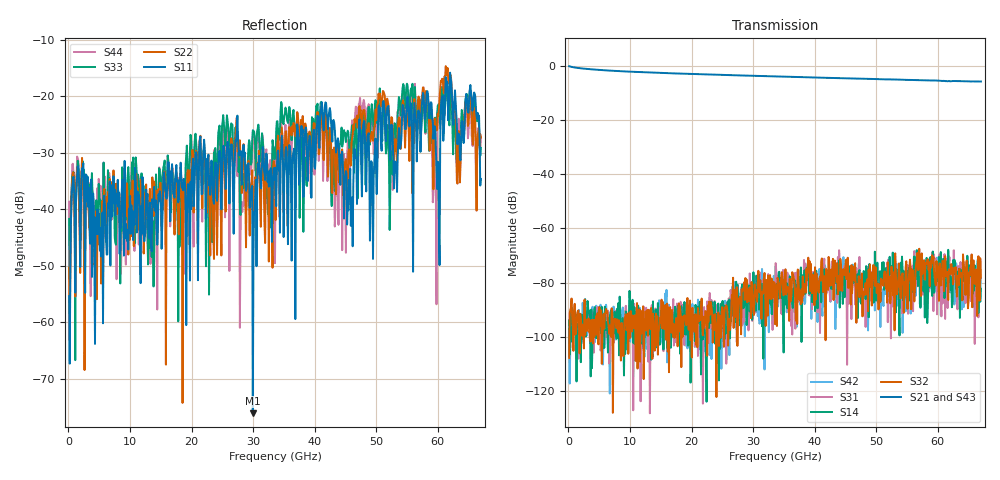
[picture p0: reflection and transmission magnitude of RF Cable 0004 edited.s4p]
!Keysight Technologies,N5227B,US57180239,A.12.70.07
!Date: Monday, December 11, 2017 05:03:27
!Correction: S11(Full 4 Port(1,2,3,4))
!S12(Full 4 Port(1,2,3,4))
!S13(Full 4 Port(1,2,3,4))
!S14(Full 4 Port(1,2,3,4))
!S21(Full 4 Port(1,2,3,4))
!S22(Full 4 Port(1,2,3,4))
!S23(Full 4 Port(1,2,3,4))
!S24(Full 4 Port(1,2,3,4))
!S31(Full 4 Port(1,2,3,4))
!S32(Full 4 Port(1,2,3,4))
!S33(Full 4 Port(1,2,3,4))
!S34(Full 4 Port(1,2,3,4))
!S41(Full 4 Port(1,2,3,4))
!S42(Full 4 Port(1,2,3,4))
!S43(Full 4 Port(1,2,3,4))
!S44(Full 4 Port(1,2,3,4))
!S4P File: Measurements: <S11,S12,S13,S14>,
!<S21,S22,S23,S24>,
!<S31,S32,S33,S34>,
!<S41,S42,S43,S44>:
# Hz S  dB  R 50
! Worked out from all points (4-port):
!   669 points, 110.1 MHz to 67 GHz, reference 50 ohm
!   strongest paths, dB at 110.1 MHz, 16.83 GHz, 33.56 GHz, 50.28 GHz, 67 GHz:
!     S21: -0.2, -2.9, -4.0, -5.0, -5.9
!     S43: -0.2, -2.9, -4.0, -5.0, -5.9
!     S32: -107.7, -90.1, -95.3, -80.4, -78.1
!     S14: -94.0, -97.7, -83.7, -81.6, -82.2
!     S31: -104.4, -95.5, -82.4, -78.2, -75.3
!     S42: -106.0, -90.3, -82.4, -83.5, -78.3
!   lowest |S11| = -76.1 dB at 29.95 GHz (marker M1), VSWR 1.00, Z = 50 + j0.0117 ohm
!   |S11| at or under -10 dB: start of sweep to end of sweep
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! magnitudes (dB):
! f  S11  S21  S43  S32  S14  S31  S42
! 110.1 MHz  -55.4  -0.2  -0.2  -107.7  -94.0  -104.4  -106.0
! 1.512 GHz  -32.4  -0.9  -0.9  -90.5  -97.3  -94.1  -99.0
! 13.63 GHz  -38.3  -2.6  -2.6  -108.1  -107.7  -91.9  -90.1
! 27.45 GHz  -23.4  -3.6  -3.6  -103.3  -80.7  -92.3  -89.0
! 29.95 GHz  -76.1  -3.8  -3.8  -86.2  -88.6  -85.5  -86.2
! 41.47 GHz  -26.0  -4.5  -4.5  -79.5  -83.5  -75.9  -85.9
! 67 GHz  -34.7  -5.9  -5.9  -78.1  -82.2  -75.3  -78.3
